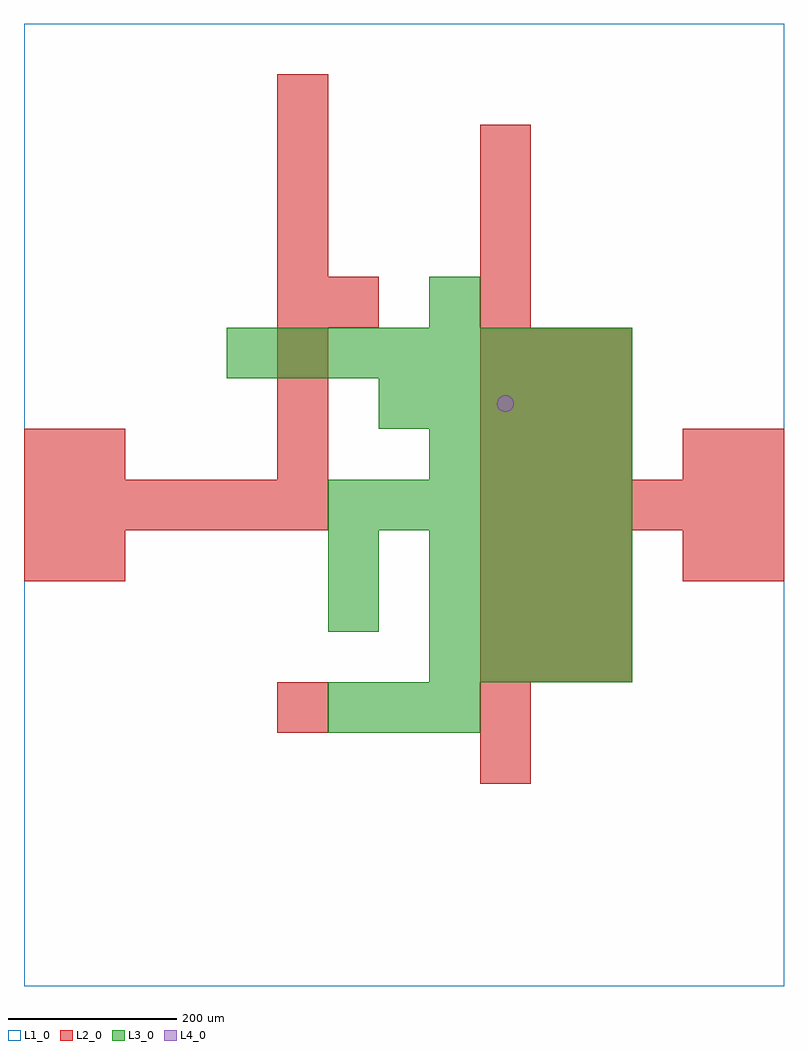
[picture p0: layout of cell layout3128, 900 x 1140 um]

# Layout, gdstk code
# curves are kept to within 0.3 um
import gdstk
lib = gdstk.Library(unit=1e-6, precision=1e-09)
def R(c, l, rs):  # rectangles x0, y0, x1, y1
    for r in rs: c.add(gdstk.rectangle(r[:2], r[2:], *l))
def A(c, l, x, y, w, h, nx, ny, dx, dy):  # array of equal rectangles
    R(c, l, [(x+i*dx, y+j*dy, x+i*dx+w, y+j*dy+h) for i in range(nx) for j in range(ny)])
def P(c, l, *ps):  # polygons
    for p in ps: c.add(gdstk.Polygon(p, *l))
L1_0 = (1, 0)
L2_0 = (2, 0)
L3_0 = (3, 0)
L4_0 = (4, 0)

layout3128 = lib.new_cell('layout3128')
R(layout3128, L1_0, [(0,0,900,1140)])
A(layout3128, L2_0, 540, 360, 60, 60, 3, 3, 60, 60)
A(layout3128, L2_0, 0, 540, 60, 60, 6, 1, 60, 0)
A(layout3128, L2_0, 540, 540, 60, 60, 6, 1, 60, 0)
A(layout3128, L2_0, 60, 600, 60, 60, 3, 1, 240, 0)
A(layout3128, L2_0, 300, 660, 60, 60, 1, 7, 0, 60)
A(layout3128, L2_0, 540, 660, 60, 60, 3, 2, 60, 60)
A(layout3128, L2_0, 540, 780, 60, 60, 1, 4, 0, 60)
R(layout3128, L2_0, [(540,240,600,300), (300,300,360,360), (540,300,600,360), (0,480,60,540), (60,480,120,540), (780,480,840,540), (840,480,900,540), (0,600,60,660), (600,600,660,660), (660,600,720,660), (780,600,840,660), (840,600,900,660), (360,780,420,840)])
A(layout3128, L3_0, 360, 300, 60, 60, 3, 1, 60, 0)
A(layout3128, L3_0, 480, 360, 60, 60, 4, 3, 60, 60)
A(layout3128, L3_0, 360, 540, 60, 60, 6, 1, 60, 0)
A(layout3128, L3_0, 480, 600, 60, 60, 4, 1, 60, 0)
A(layout3128, L3_0, 420, 660, 60, 60, 5, 1, 60, 0)
A(layout3128, L3_0, 240, 720, 60, 60, 8, 1, 60, 0)
R(layout3128, L3_0, [(360,420,420,480), (360,480,420,540), (480,780,540,840)])
P(layout3128, L4_0, [(580,690),(579.239,693.827),(577.071,697.071),(573.827,699.239),(570,700),(566.173,699.239),(562.929,697.071),(560.761,693.827),(560,690),(560.761,686.173),(562.929,682.929),(566.173,680.761),(570,680),(573.827,680.761),(577.071,682.929),(579.239,686.173)])

lib.write_gds('layout3128.gds')
